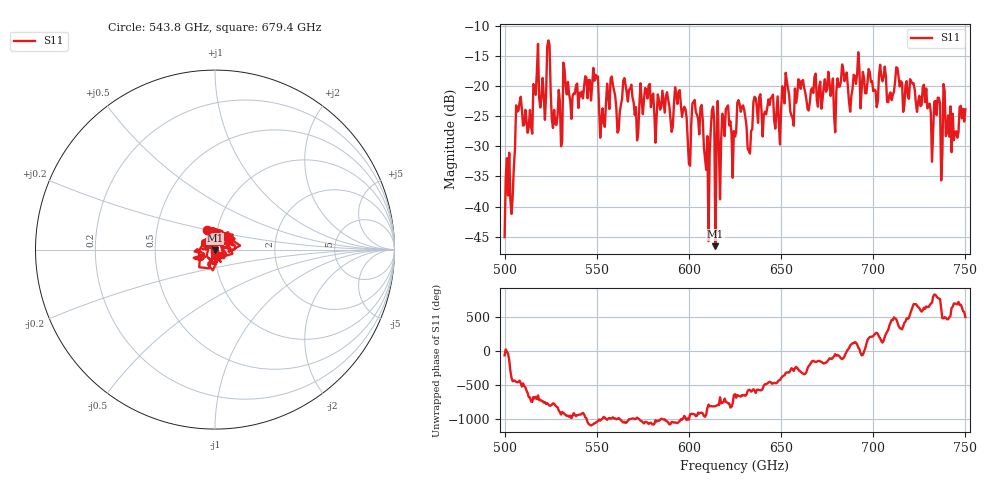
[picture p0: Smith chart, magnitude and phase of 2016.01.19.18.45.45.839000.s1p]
!Created with skrf (http://scikit-rf.org).
# GHz S RI R 50.0
!freq ReS11 ImS11
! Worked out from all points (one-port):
!   401 points, 500 GHz to 750 GHz, reference 50 ohm
!   lowest |S11| = -46.6 dB at 614.4 GHz (marker M1), VSWR 1.01, Z = 50 - j0.467 ohm
!   |S11| at or under -10 dB: start of sweep to end of sweep
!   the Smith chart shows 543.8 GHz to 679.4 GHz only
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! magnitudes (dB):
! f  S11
! 500 GHz  -45.1
! 504.4 GHz  -38.4
! 507.5 GHz  -24.1
! 513.8 GHz  -24.0
! 516.9 GHz  -21.4
! 520.6 GHz  -18.6
! 523.8 GHz  -12.4
! 526.9 GHz  -23.9
! 531.2 GHz  -29.0
! 549.4 GHz  -18.1
! 553.1 GHz  -23.7
! 558.8 GHz  -19.8
! 562.5 GHz  -24.3
! 593.8 GHz  -22.9
! 600 GHz  -32.9
! 606.2 GHz  -23.6
! 609.4 GHz  -33.9
! 612.5 GHz  -24.0
! 614.4 GHz  -46.6
! 625 GHz  -28.4
! 627.5 GHz  -23.0
! 633.1 GHz  -31.2
! 636.9 GHz  -23.5
! 656.2 GHz  -25.3
! 660.6 GHz  -20.4
! 687.5 GHz  -24.2
! 718.8 GHz  -21.7
! 750 GHz  -23.8
